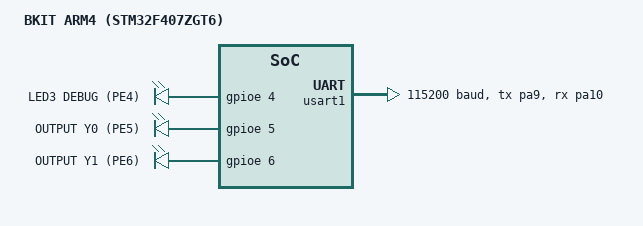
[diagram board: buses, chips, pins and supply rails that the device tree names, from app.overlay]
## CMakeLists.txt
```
cmake_minimum_required(VERSION 3.20.0)

find_package(Zephyr REQUIRED HINTS $ENV{ZEPHYR_BASE})

project(lab1_ex2)

target_sources(app PRIVATE src/main.c)
```

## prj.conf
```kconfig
# ---- Kconfig options for the BKIT Blinky application ----
# Enable the GPIO driver to control pin PE4 (LED3)
CONFIG_GPIO=y

# Enable the UART console (messages are printed on USART1 / RS232)
CONFIG_SERIAL=y
CONFIG_CONSOLE=y
CONFIG_UART_CONSOLE=y
CONFIG_PRINTK=y
CONFIG_BUILD_OUTPUT_HEX=y
```

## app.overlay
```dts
/*
 * app.overlay - Devicetree overlay for the BKIT ARM4 kit (STM32F407ZGT6)
 *
 * Base board: stm32f4_disco (same STM32F407 chip, 8 MHz HSE crystal,
 * 168 MHz SYSCLK). This file "patches" the base board to match the BKIT hardware.
 */

/ {
    model = "BKIT ARM4 (STM32F407ZGT6)";

    /* 1. Use USART1 (PA9/PA10 -> MAX232 -> RS232 DB9 port) as the console */
    chosen {
        zephyr,console = &usart1;
        zephyr,shell-uart = &usart1;
    };

    /* 2. Declare LED3 (DEBUG LED) on pin PE4, active high */
    leds {
        debug_led: led_debug {
            gpios = <&gpioe 4 GPIO_ACTIVE_HIGH>;
            label = "LED3 DEBUG (PE4)";
        };

        /*
         * Output Y0 / Y1 (via opto-couplers to the 12V terminals)
         * - Status LEDs on the kit
         */
        output_y0: output_y0 {
            gpios = <&gpioe 5 GPIO_ACTIVE_HIGH>;
            label = "OUTPUT Y0 (PE5)";
        };

        output_y1: output_y1 {
            gpios = <&gpioe 6 GPIO_ACTIVE_HIGH>;
            label = "OUTPUT Y1 (PE6)";
        };
    };

    /* 3. Point the aliases at the BKIT hardware */
    /* The program uses led0 / led1 / led2 */
    aliases {
        led0 = &debug_led;  /* LED3 - PE4 */
        led1 = &output_y0;  /* Out Y0 - PE5 */
        led2 = &output_y1;  /* Out Y1 - PE6 */

        /delete-property/ led3;  /* Discovery blue LED: not used */
    };
};

/* USART1: PA9 = TX, PA10 = RX (see Table 7 - ARM_KIT.pdf) */
&usart1 {
    pinctrl-0 = <&usart1_tx_pa9 &usart1_rx_pa10>;
    pinctrl-names = "default";
    current-speed = <115200>;
    status = "okay";
};

/*
 * 4. Disable Discovery-board peripherals whose pins clash with the BKIT hardware
 * (PA2/PA3 go to the ESP8266, PD0/PD1 to FSMC, PB6/PB9 to I2C/CAN, ...)
 */
&usart2 { status = "disabled"; };
&can1 { status = "disabled"; };
&can2 { status = "disabled"; };
&i2c1 { status = "disabled"; };
&i2s3 { status = "disabled"; };
&adc1 { status = "disabled"; };
&timers2 { status = "disabled"; };
&timers4 { status = "disabled"; };
&usbotg_fs { status = "disabled"; };
&usbotg_fs { status = "disabled"; };
```

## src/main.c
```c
#include <zephyr/kernel.h>
#include <zephyr/drivers/gpio.h>
#include <zephyr/sys/atomic.h>

static const struct gpio_dt_spec led3 = GPIO_DT_SPEC_GET(DT_ALIAS(led0), gpios);
static const struct gpio_dt_spec y0 = GPIO_DT_SPEC_GET(DT_ALIAS(led1), gpios);

/* The writer publishes LED3's logical state; the follower only reads it. */
static atomic_t led3_is_on;

static void thread_led_blinky(void *p1, void *p2, void *p3)
{
    ARG_UNUSED(p1);
    ARG_UNUSED(p2);
    ARG_UNUSED(p3);

    if (!gpio_is_ready_dt(&led3) || gpio_pin_configure_dt(&led3, GPIO_OUTPUT_INACTIVE) < 0) {
        return;
    }

    while (1) {
        gpio_pin_set_dt(&led3, 1);
        atomic_set(&led3_is_on, 1);
        k_msleep(2000);

        gpio_pin_set_dt(&led3, 0);
        atomic_set(&led3_is_on, 0);
        k_msleep(2000);
    }
}

static void thread_y0_follow(void *p1, void *p2, void *p3)
{
    ARG_UNUSED(p1);
    ARG_UNUSED(p2);
    ARG_UNUSED(p3);

    if (!gpio_is_ready_dt(&y0) || gpio_pin_configure_dt(&y0, GPIO_OUTPUT_INACTIVE) < 0) {
        return;
    }

    while (1) {
        gpio_pin_set_dt(&y0, atomic_get(&led3_is_on) ? 1 : 0);
        k_msleep(10);
    }
}

K_THREAD_DEFINE(thread_led_blinky_id, 1024, thread_led_blinky, NULL, NULL, NULL, 7, 0, 0);
K_THREAD_DEFINE(thread_y0_follow_id, 1024, thread_y0_follow, NULL, NULL, NULL, 7, 0, 0);

int main(void)
{
    return 0;
}
```
